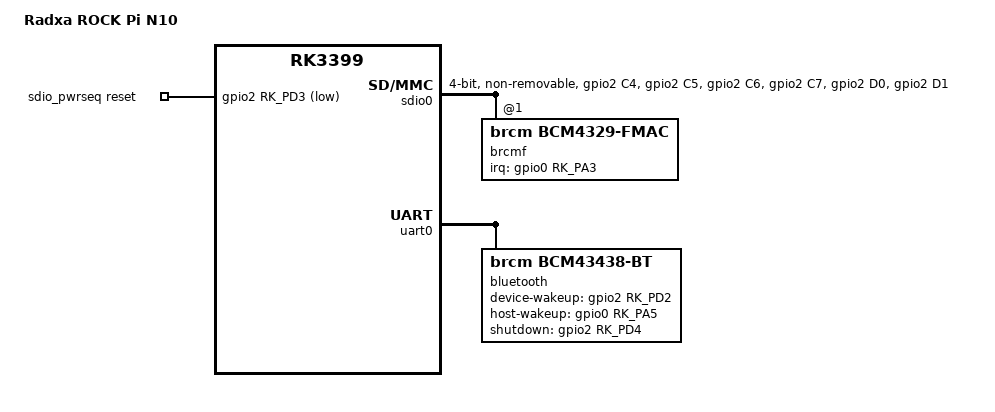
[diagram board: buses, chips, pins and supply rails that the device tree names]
// SPDX-License-Identifier: (GPL-2.0+ OR MIT)
/*
 * Copyright (c) 2019 Fuzhou Rockchip Electronics Co., Ltd
 * Copyright (c) 2019 Radxa Limited
 * Copyright (c) 2019 Amarula Solutions(India)
 */

/dts-v1/;
#include "rk3399.dtsi"
#include "rk3399-opp.dtsi"
#include "rk3399pro-vmarc-som.dtsi"
#include <arm/rockchip-radxa-dalang-carrier.dtsi>

/ {
	model = "Radxa ROCK Pi N10";
	compatible = "radxa,rockpi-n10", "vamrs,rk3399pro-vmarc-som",
		     "rockchip,rk3399pro";

	sdio_pwrseq: sdio-pwrseq {
                status = "okay";
                compatible = "mmc-pwrseq-simple";
                clocks = <&hym8563>;
                clock-names = "ext_clock";
                pinctrl-names = "default";
                pinctrl-0 = <&wifi_enable_h>;

                /*
                 * On the module itself this is one of these (depending
                 * on the actual card populated):
                 * - SDIO_RESET_L_WL_REG_ON
                 * - PDN (power down when low)
                 */
                reset-gpios = <&gpio2 RK_PD3 GPIO_ACTIVE_LOW>;
        };
};

&sdio0 {
        #address-cells = <1>;
        #size-cells = <0>;
        bus-width = <4>;
        clock-frequency = <50000000>;
        cap-sdio-irq;
        cap-sd-highspeed;
        keep-power-in-suspend;
        mmc-pwrseq = <&sdio_pwrseq>;
        non-removable;
        pinctrl-names = "default";
        pinctrl-0 = <&sdio0_bus4 &sdio0_cmd &sdio0_clk>;
        sd-uhs-sdr104;
        status = "okay";

        brcmf: wifi@1 {
                compatible = "brcm,bcm4329-fmac";
                reg = <1>;
                interrupt-parent = <&gpio0>;
                interrupts = <RK_PA3 GPIO_ACTIVE_HIGH>;
                interrupt-names = "host-wake";
                pinctrl-names = "default";
                pinctrl-0 = <&wifi_host_wake_l>;
        };
};

&uart0 {
        pinctrl-names = "default";
        pinctrl-0 = <&uart0_xfer &uart0_cts &uart0_rts>;
        status = "okay";

        bluetooth {
                compatible = "brcm,bcm43438-bt";
                clocks = <&hym8563>;
                clock-names = "ext_clock";
                device-wakeup-gpios = <&gpio2 RK_PD2 GPIO_ACTIVE_HIGH>;
		host-wakeup-gpios = <&gpio0 RK_PA5 GPIO_ACTIVE_HIGH>;
                shutdown-gpios = <&gpio2 RK_PD4 GPIO_ACTIVE_HIGH>;
                pinctrl-names = "default";
                pinctrl-0 = <&bt_host_wake_l &bt_wake_l &bt_enable_h>;
        };
};

&pinctrl {
	sdio-pwrseq {
                wifi_enable_h: wifi-enable-h {
                        rockchip,pins =
                                <2 RK_PD3 0 &pcfg_pull_none>;
                };
        };

	sdio0 {
                sdio0_bus4: sdio0-bus4 {
                        rockchip,pins =
                                <2 RK_PC4 1 &pcfg_pull_up_20ma>,
                                <2 RK_PC5 1 &pcfg_pull_up_20ma>,
                                <2 RK_PC6 1 &pcfg_pull_up_20ma>,
                                <2 RK_PC7 1 &pcfg_pull_up_20ma>;
                };

                sdio0_cmd: sdio0-cmd {
                        rockchip,pins =
                                <2 RK_PD0 1 &pcfg_pull_up_20ma>;
                };

		sdio0_clk: sdio0-clk {
                        rockchip,pins =
                                <2 RK_PD1 1 &pcfg_pull_none_20ma>;
		};
	};

	wifi {
                wifi_host_wake_l: wifi-host-wake-l {
                        rockchip,pins = <0 RK_PA3 RK_FUNC_GPIO &pcfg_pull_none>;
                };
        };

	bt {
                bt_enable_h: bt-enable-h {
                        rockchip,pins = <2 RK_PD4 RK_FUNC_GPIO &pcfg_pull_none>;
                };

                bt_host_wake_l: bt-host-wake-l {
                        rockchip,pins = <0 RK_PA5 RK_FUNC_GPIO &pcfg_pull_none>;
                };

                bt_wake_l: bt-wake-l {
                        rockchip,pins = <2 RK_PD2 RK_FUNC_GPIO &pcfg_pull_none>;
                };
        };
};
